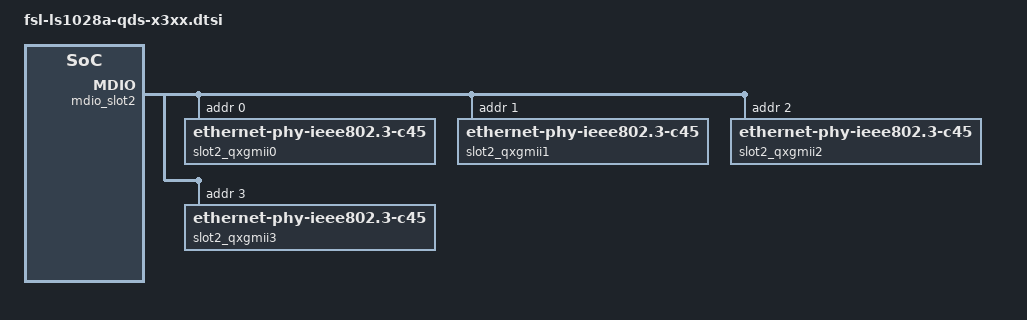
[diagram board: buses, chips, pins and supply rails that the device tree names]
// SPDX-License-Identifier: (GPL-2.0+ OR MIT)
/*
 * Device Tree Include file for LS1028A QDS board, serdes x3xx
 *
 * Copyright 2019 NXP
 *
 */

&mdio_slot2 {
	/* 4 ports on AQR412 */
	slot2_qxgmii0: ethernet-phy@0 {
		reg = <0x0>;
		compatible = "ethernet-phy-ieee802.3-c45";
	};

	slot2_qxgmii1: ethernet-phy@1 {
		reg = <0x1>;
		compatible = "ethernet-phy-ieee802.3-c45";
	};

	slot2_qxgmii2: ethernet-phy@2 {
		reg = <0x2>;
		compatible = "ethernet-phy-ieee802.3-c45";
	};

	slot2_qxgmii3: ethernet-phy@3 {
		reg = <0x3>;
		compatible = "ethernet-phy-ieee802.3-c45";
	};
};

/* l2switch ports */
&mscc_felix_ports {
	port@0 {
		status = "okay";
		phy-handle = <&slot2_qxgmii0>;
		phy-mode = "usxgmii";
		managed = "in-band-status";
	};

	port@1 {
		status = "okay";
		phy-handle = <&slot2_qxgmii1>;
		phy-mode = "usxgmii";
		managed = "in-band-status";
	};

	port@2 {
		status = "okay";
		phy-handle = <&slot2_qxgmii2>;
		phy-mode = "usxgmii";
		managed = "in-band-status";
	};

	port@3 {
		status = "okay";
		phy-handle = <&slot2_qxgmii3>;
		phy-mode = "usxgmii";
		managed = "in-band-status";
	};
};
